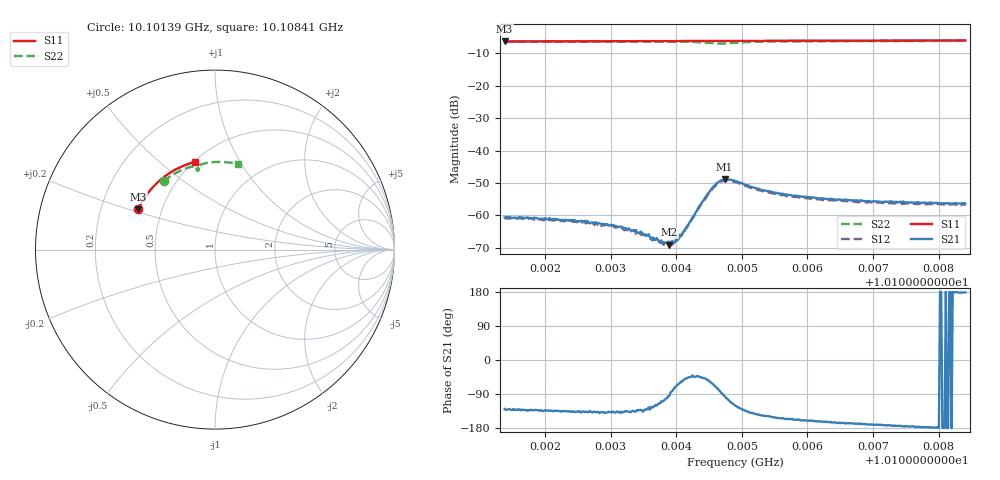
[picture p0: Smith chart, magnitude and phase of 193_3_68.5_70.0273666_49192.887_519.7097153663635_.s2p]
#  HZ  S  RI  R  50.00
! Rohde & Schwarz Vector Network Analyzer
! Rohde-Schwarz,ZNB20-2Port,1311601062101988,3.16
! Created: UTC 3/20/2024, 4:57:12 PM
! freq[Hz]  re:S11  im:S11  re:S21  im:S21  re:S12  im:S12  re:S22  im:S22
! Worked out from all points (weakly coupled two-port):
!   401 points, 10.10139 GHz to 10.10841 GHz, reference 50 ohm
!   highest |S21| = -48.86 dB at 10.10474 GHz (marker M1); lowest = -69.0 dB at 10.1039 GHz (marker M2)
!   lowest |S11| = -6.3 dB at 10.10139 GHz (marker M3), VSWR 2.87, Z = 18.4 + j10.8 ohm
!   |S11| at or under -10 dB: nowhere
!   |S22| runs from -7.0 to -6.1 dB; largest |S21 - S12| = 0.00037
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1.0101385e10  -0.4276 0.2251  -0.00059 -0.000718  -0.000516 -0.00074  -0.2867 0.3796
1.0101789e10  -0.4166 0.2472  -0.000592 -0.000682  -0.000551 -0.000727  -0.266 0.3956
1.0101877e10  -0.4143 0.2518  -0.000613 -0.000675  -0.000546 -0.000637  -0.2615 0.3991
1.0102561e10  -0.3928 0.2877  -0.000598 -0.000573  -0.000538 -0.000553  -0.2238 0.4236
1.0103035e10  -0.3763 0.3113  -0.00051 -0.000493  -0.000478 -0.000511  -0.1961 0.4383
1.0103334e10  -0.3651 0.3255  -0.000401 -0.000417  -0.000379 -0.000447  -0.1775 0.4467
1.0103737e10  -0.3493 0.3441  -0.000168 -0.000364  -0.00014 -0.00036  -0.1509 0.4564
1.0103825e10  -0.3457 0.3481  -9.64e-05 -0.000368  -6.37e-05 -0.000352  -0.1446 0.4581
1.0103895e10  -0.3427 0.3512  -2.99e-05 -0.000352  2.43e-05 -0.000348  -0.1395 0.4594
1.0103983e10  -0.3391 0.3552  0.000122 -0.000368  0.000132 -0.000361  -0.1329 0.4607
1.0104106e10  -0.3339 0.3606  0.000329 -0.000448  0.000359 -0.000383  -0.123 0.4619
1.0104369e10  -0.3223 0.3716  0.00102 -0.00104  0.00109 -0.00093  -0.1004 0.4587
1.0104545e10  -0.3146 0.3788  0.00124 -0.00231  0.00139 -0.00209  -0.0897 0.4468
1.010465e10  -0.3099 0.3828  0.000614 -0.00327  0.000871 -0.00309  -0.0924 0.439
1.0104738e10  -0.306 0.3864  -0.000356 -0.00359  -4.74e-05 -0.00343  -0.0986 0.4387
1.0104896e10  -0.2987 0.3926  -0.00168 -0.00294  -0.00139 -0.00295  -0.1026 0.4504
1.0105282e10  -0.2806 0.4072  -0.00208 -0.0014  -0.00185 -0.00154  -0.0793 0.4729
1.0105545e10  -0.2675 0.4165  -0.00194 -0.00101  -0.00178 -0.00114  -0.0605 0.4795
1.0106072e10  -0.2408 0.434  -0.00178 -0.000633  -0.00166 -0.000771  -0.0243 0.4862
1.0106423e10  -0.2224 0.4446  -0.0017 -0.00048  -0.0016 -0.000586  -0.00064 0.4881
1.0107248e10  -0.1774 0.4663  -0.00163 -0.000225  -0.00151 -0.000376  0.0531 0.4877
1.0108406e10  -0.111 0.4886  -0.00152 4.14e-05  -0.00144 -9.04e-05  0.1267 0.4765
